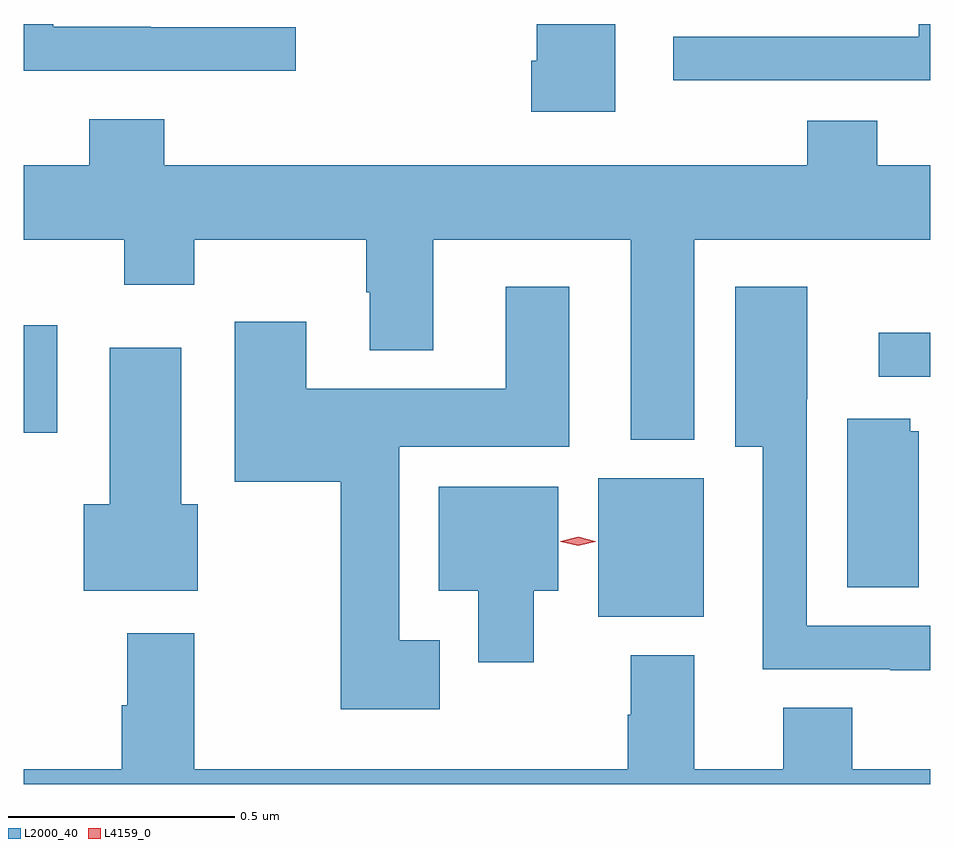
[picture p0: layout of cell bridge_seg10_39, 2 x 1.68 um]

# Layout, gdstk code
import gdstk
lib = gdstk.Library(unit=1e-6, precision=1e-09)
def R(c, l, rs):  # rectangles x0, y0, x1, y1
    for r in rs: c.add(gdstk.rectangle(r[:2], r[2:], *l))
def P(c, l, *ps):  # polygons
    for p in ps: c.add(gdstk.Polygon(p, *l))
L2000_40 = (2000, 40)
L4159_0 = (4159, 0)

bridge_seg10_39 = lib.new_cell('bridge_seg10_39')
R(bridge_seg10_39, L2000_40, [(930.491,1248.869,930.724,1249.174), (929.224,1249.275,929.298,1249.512), (931.11,1249.398,931.224,1249.495)])
P(bridge_seg10_39, L2000_40, [(929.824,1250.169),(929.504,1250.169),(929.504,1250.17),(929.29,1250.17),(929.29,1250.176),(929.224,1250.176),(929.224,1250.073),(929.824,1250.073)],
  [(930.529,1250.176),(930.356,1250.176),(930.356,1250.095),(930.344,1250.095),(930.344,1249.983),(930.529,1249.983)],
  [(931.224,1250.176),(931.198,1250.176),(931.198,1250.148),(930.657,1250.148),(930.657,1250.052),(931.224,1250.052)],
  [(930.703,1249.7),(931.224,1249.7),(931.224,1249.864),(931.107,1249.864),(931.107,1249.963),(930.952,1249.963),(930.952,1249.864),(929.534,1249.864),(929.534,1249.966),(929.369,1249.966),(929.369,1249.864),(929.224,1249.864),(929.224,1249.7),(929.446,1249.7),(929.446,1249.601),(929.601,1249.601),(929.601,1249.7),(929.98,1249.7),(929.98,1249.584),(929.987,1249.584),(929.987,1249.457),(930.127,1249.457),(930.127,1249.7),(930.563,1249.7),(930.563,1249.259),(930.703,1249.259)],
  [(931.224,1248.849),(930.951,1248.849),(930.951,1249.348),(930.952,1249.348),(930.952,1249.597),(930.794,1249.597),(930.794,1249.244),(930.854,1249.244),(930.854,1248.753),(931.135,1248.753),(931.135,1248.751),(931.224,1248.751)],
  [(930.142,1248.817),(930.052,1248.817),(930.052,1249.244),(930.427,1249.244),(930.427,1249.597),(930.287,1249.597),(930.287,1249.372),(929.848,1249.372),(929.848,1249.519),(929.69,1249.519),(929.69,1249.166),(929.923,1249.166),(929.923,1248.665),(930.142,1248.665)],
  [(929.608,1249.117),(929.572,1249.117),(929.572,1249.462),(929.414,1249.462),(929.414,1249.117),(929.357,1249.117),(929.357,1248.926),(929.608,1248.926)],
  [(931.198,1249.278),(931.179,1249.278),(931.179,1249.305),(931.04,1249.305),(931.04,1248.934),(931.198,1248.934)],
  [(930.349,1248.926),(930.403,1248.926),(930.403,1249.156),(930.14,1249.156),(930.14,1248.926),(930.227,1248.926),(930.227,1248.768),(930.349,1248.768)],
  [(931.224,1248.532),(931.052,1248.532),(931.052,1248.668),(930.899,1248.668),(930.899,1248.532),(930.703,1248.532),(930.703,1248.784),(930.563,1248.784),(930.563,1248.653),(930.556,1248.653),(930.556,1248.532),(929.601,1248.532),(929.601,1248.832),(929.453,1248.832),(929.453,1248.674),(929.441,1248.674),(929.441,1248.532),(929.224,1248.532),(929.224,1248.5),(931.224,1248.5)])
P(bridge_seg10_39, L4159_0, [(930.447,1249.025),(930.409,1249.034),(930.408,1249.035),(930.409,1249.035),(930.447,1249.045),(930.485,1249.035),(930.486,1249.035),(930.485,1249.034)])

lib.write_gds('bridge_seg10_39.gds')
